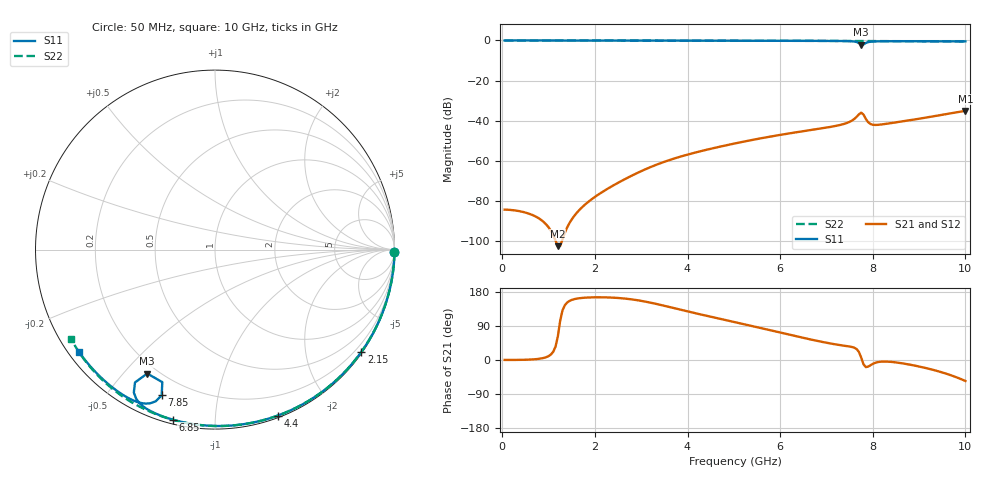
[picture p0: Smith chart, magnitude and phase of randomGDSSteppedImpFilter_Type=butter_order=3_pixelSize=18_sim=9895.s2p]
! freq	dB(S11)	phase(S11)	dB(S12)	phase(S12)
!  dB(S21)	phase(S21)	dB(S22)	phase(S22)
!S-par simulation data
#  GHz  S  DB  R 50
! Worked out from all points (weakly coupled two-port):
!   200 points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, 50 MHz to 10 GHz, reference 50 ohm
!   highest |S21| = -35.08 dB at 10 GHz (marker M1); lowest = -102.5 dB at 1.2 GHz (marker M2)
!   lowest |S11| = -2.1 dB at 7.75 GHz (marker M3), VSWR 8.39, Z = 8.02 - j29.1 ohm
!   |S11| at or under -10 dB: nowhere
!   |S22| runs from -0.5 to 0.0 dB; largest |S21 - S12| = 0
!   S11 on the Smith chart (normalised r, x): 50 MHz: open; 2.15 GHz: 0.03, -3.17; 4.4 GHz: 0.02, -1.45; 6.85 GHz: 0.02, -0.78; 7.85 GHz: 0.11, -0.69; 10 GHz: 0.03, -0.33
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0.05  -0.00 -0.8  -84.32 0.2  -84.32 0.2  -0.00 -0.9
1.2  -0.02 -19.7  -102.54 62.7  -102.54 62.7  -0.02 -20.4
1.75  -0.04 -28.6  -82.56 164.1  -82.56 164.1  -0.04 -29.5
1.9  -0.04 -31.0  -79.67 165.2  -79.67 165.2  -0.04 -32.0
2.15  -0.04 -35.0  -75.67 165.5  -75.67 165.5  -0.05 -36.1
2.8  -0.06 -45.2  -67.34 159.9  -67.34 159.9  -0.06 -46.6
3.4  -0.07 -54.4  -61.30 145.9  -61.30 145.9  -0.07 -56.1
4.4  -0.10 -69.3  -54.54 117.0  -54.54 117.0  -0.10 -71.5
5.05  -0.12 -78.7  -51.20 99.1  -51.20 99.1  -0.12 -81.1
5.85  -0.15 -90.0  -47.66 76.7  -47.66 76.7  -0.16 -92.6
6.7  -0.20 -101.9  -44.53 53.0  -44.53 53.0  -0.20 -104.4
6.85  -0.21 -104.0  -44.00 49.2  -44.00 49.2  -0.21 -106.5
7.45  -0.32 -113.8  -41.05 36.5  -41.05 36.5  -0.25 -114.6
7.65  -0.76 -119.6  -38.10 29.0  -38.10 29.0  -0.27 -117.3
7.7  -1.27 -121.1  -36.83 21.4  -36.83 21.4  -0.27 -118.0
7.75  -2.08 -118.7  -35.99 6.3  -35.99 6.3  -0.27 -118.6
7.8  -2.00 -111.7  -36.95 -11.3  -36.95 -11.3  -0.28 -119.3
7.85  -1.26 -110.1  -39.09 -18.8  -39.09 -18.8  -0.28 -120.0
7.9  -0.84 -111.4  -40.75 -17.6  -40.75 -17.6  -0.28 -120.7
8  -0.53 -114.3  -42.01 -10.2  -42.01 -10.2  -0.29 -122.0
8.35  -0.37 -120.8  -41.35 -4.5  -41.35 -4.5  -0.33 -126.6
10  -0.46 -143.1  -35.08 -55.3  -35.08 -55.3  -0.51 -148.3
